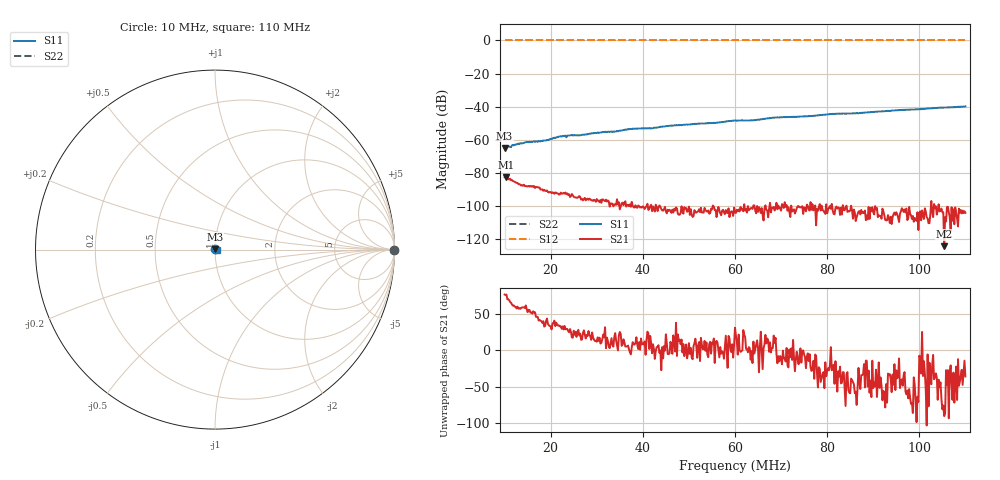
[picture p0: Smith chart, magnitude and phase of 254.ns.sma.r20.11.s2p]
! Anritsu VNA Master:  Model: MS2036C/10/77
! SN:  1601066
! /card0/usr/254.ns.sma.r20.11.s2p
! Existing Calibration Information:
! TYPE:  Current Settings,  Active Cal Settings
! TIME:  12/20/2017 01:27:11 PM,  12/20/2017 01:21:26 PM
! INTERNAL TEMP:  45.0 C,  44.5 C
! # POINTS:  501,  501
! START FREQ:  10.000 MHz,  10.000 MHz
! STOP FREQ:  110.000 MHz,  110.000 MHz
! SOURCE POWER:  High,  High
! IFBW:  100 Hz,  100 Hz
! AVG FACTOR:  1 ,  1
! REF PLANE 1:  0 mm,  0 mm
! REF PLANE 2:  0 mm,  0 mm
! CAL TYPE:  Full S11,  Full S11
! CAL METHOD:  SOLT,  SOLT
! CAL LINE TYPE:  Coax,  Coax
! DUT PORT 1:  N-Conn(F),  N-Conn(F)
! DUT PORT 2:  K-Conn(F),  K-Conn(F)
! CAL STATUS:  OK: Accuracy High,  --
# GHZ S DB R 50.0
! FREQ.GHZ  S11DB  S11A  S21DB  S21A  S12DB  S12A  S22DB  S22A
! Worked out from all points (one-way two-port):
!   501 points, 10 MHz to 110 MHz, reference 50 ohm
!   highest |S21| = -82.41 dB at 10.4 MHz (marker M1); lowest = -124.1 dB at 105.4 MHz (marker M2)
!   lowest |S11| = -64.9 dB at 10 MHz (marker M3), VSWR 1.00, Z = 50 + j0.0568 ohm
!   |S11| at or under -10 dB: start of sweep to end of sweep
!   |S22| runs from 0.0 to 0.0 dB; largest |S21 - S12| = 1
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0.01  -64.91 89.8  -82.42 77.2  0.00 0.0  0.00 0.0
0.0104  -63.72 92.2  -82.41 77.2  0.00 0.0  0.00 0.0
0.0112  -64.18 86.5  -83.42 66.9  0.00 0.0  0.00 0.0
0.0148  -61.26 80.2  -88.06 56.9  0.00 0.0  0.00 0.0
0.019  -60.33 76.3  -90.84 40.9  0.00 0.0  0.00 0.0
0.0222  -57.94 71.8  -91.81 33.4  0.00 0.0  0.00 0.0
0.0268  -56.94 68.3  -95.51 15.2  0.00 0.0  0.00 0.0
0.0314  -55.33 64.2  -96.03 22.0  0.00 0.0  0.00 0.0
0.0342  -54.84 62.6  -99.20 13.8  0.00 0.0  0.00 0.0
0.0374  -53.48 59.1  -100.35 -5.3  0.00 0.0  0.00 0.0
0.0418  -52.96 55.5  -99.14 10.2  0.00 0.0  0.00 0.0
0.0434  -52.33 54.1  -100.63 7.3  0.00 0.0  0.00 0.0
0.056  -49.60 42.1  -106.57 13.3  0.00 0.0  0.00 0.0
0.06  -48.31 39.1  -103.87 31.4  0.00 0.0  0.00 0.0
0.064  -48.17 35.4  -99.49 12.3  0.00 0.0  0.00 0.0
0.0686  -46.54 30.0  -102.59 10.5  0.00 0.0  0.00 0.0
0.0768  -45.58 23.2  -98.71 -26.1  0.00 0.0  0.00 0.0
0.0808  -44.45 19.5  -101.55 4.6  0.00 0.0  0.00 0.0
0.0866  -43.90 14.6  -104.80 -51.5  0.00 0.0  0.00 0.0
0.0934  -42.50 6.5  -107.17 -33.6  0.00 0.0  0.00 0.0
0.1054  -40.46 -6.2  -124.10 -90.6  0.00 0.0  0.00 0.0
0.11  -39.79 -11.0  -104.00 -35.8  0.00 0.0  0.00 0.0
